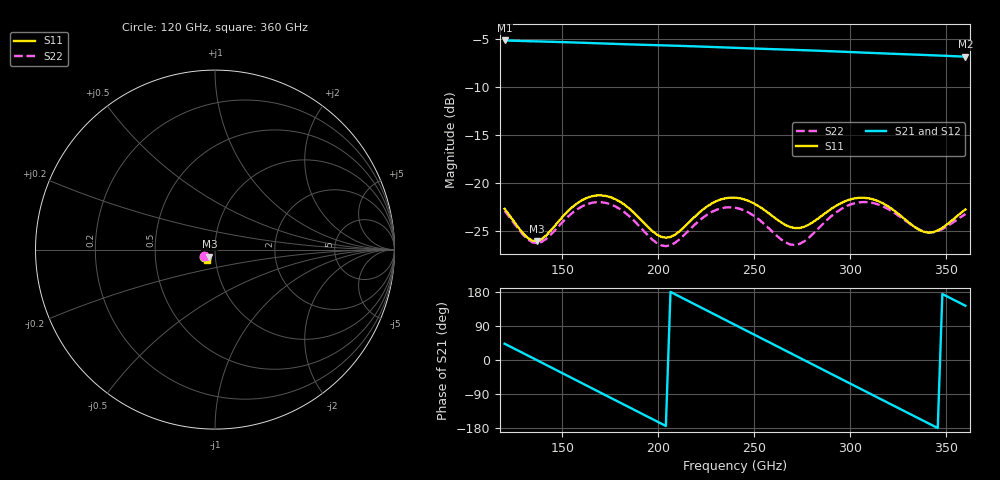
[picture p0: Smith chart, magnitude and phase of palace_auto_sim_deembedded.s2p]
! Created with skrf 1.11.0 (http://scikit-rf.org).
# GHz S DB R 50.0
!freq dBS11 angS11 dBS21 angS21 dBS12 angS12 dBS22 angS22
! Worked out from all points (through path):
!   101 points, 120 GHz to 360 GHz, reference 50 ohm
!   highest |S21| = -5.11 dB at 120 GHz (marker M1); lowest = -6.8 dB at 360 GHz (marker M2)
!   group delay of S21, straight-line fit = 7.18 ps
!   lowest |S11| = -26.0 dB at 136.8 GHz (marker M3), VSWR 1.11, Z = 46.9 - j3.68 ohm
!   |S11| at or under -10 dB: start of sweep to end of sweep
!   |S22| runs from -26.6 to -22.0 dB; largest |S21 - S12| = 6e-14
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120  -22.67 -144.8  -5.11 42.9  -5.11 42.9  -22.89 -148.3
136.8  -26.04 -128.2  -5.21 -0.4  -5.21 -0.4  -26.26 -134.6
148.8  -23.82 -115.3  -5.27 -31.4  -5.27 -31.4  -24.35 -122.4
160.8  -21.72 -122.9  -5.35 -62.5  -5.35 -62.5  -22.37 -129.9
170.4  -21.27 -133.9  -5.42 -87.3  -5.42 -87.3  -21.98 -141.1
180  -21.92 -144.3  -5.49 -112.1  -5.49 -112.1  -22.69 -151.7
192  -24.02 -149.4  -5.56 -143.1  -5.56 -143.1  -24.88 -156.9
201.6  -25.60 -140.5  -5.62 -167.9  -5.62 -167.9  -26.49 -147.7
218.4  -23.62 -123.6  -5.72 148.6  -5.72 148.6  -24.44 -131.7
230.4  -21.87 -130.0  -5.81 117.6  -5.81 117.6  -22.77 -139.1
240  -21.51 -139.0  -5.88 92.7  -5.88 92.7  -22.56 -148.8
249.6  -22.09 -147.1  -5.95 68.0  -5.95 68.0  -23.37 -157.2
261.6  -23.74 -149.5  -6.03 37.0  -6.03 37.0  -25.45 -158.1
271.2  -24.68 -141.8  -6.10 12.2  -6.10 12.2  -26.44 -146.4
280.8  -24.04 -132.7  -6.17 -12.6  -6.17 -12.6  -25.25 -135.0
290.4  -22.64 -131.7  -6.24 -37.4  -6.24 -37.4  -23.40 -135.0
302.4  -21.58 -139.3  -6.34 -68.4  -6.34 -68.4  -22.09 -144.4
312  -21.69 -147.5  -6.42 -93.1  -6.42 -93.1  -22.07 -153.7
321.6  -22.67 -153.5  -6.50 -117.8  -6.50 -117.8  -22.91 -160.7
340.8  -25.16 -142.8  -6.64 -167.3  -6.64 -167.3  -25.12 -154.3
350.4  -24.31 -132.0  -6.72 167.9  -6.72 167.9  -24.51 -146.2
360  -22.74 -130.5  -6.80 143.2  -6.80 143.2  -23.22 -145.4
